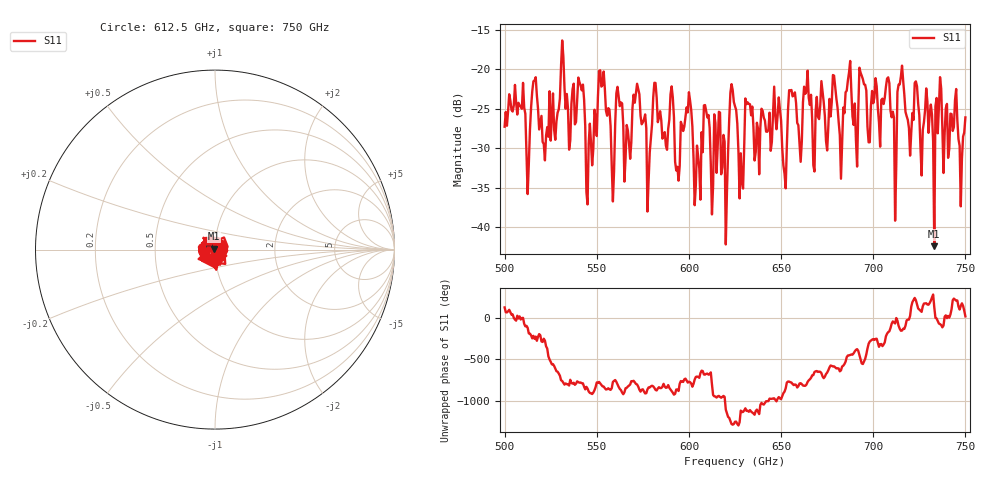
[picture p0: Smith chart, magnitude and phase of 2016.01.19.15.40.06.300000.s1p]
!Created with skrf (http://scikit-rf.org).
# GHz S RI R 50.0
!freq ReS11 ImS11
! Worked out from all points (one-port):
!   401 points, 500 GHz to 750 GHz, reference 50 ohm
!   lowest |S11| = -42.4 dB at 733.1 GHz (marker M1), VSWR 1.02, Z = 49.5 + j0.558 ohm
!   |S11| at or under -10 dB: start of sweep to end of sweep
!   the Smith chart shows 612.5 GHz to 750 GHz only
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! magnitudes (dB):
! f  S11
! 500 GHz  -27.3
! 513.1 GHz  -32.0
! 516.2 GHz  -21.4
! 522.5 GHz  -28.4
! 531.2 GHz  -16.4
! 541.2 GHz  -22.1
! 545.6 GHz  -29.4
! 552.5 GHz  -22.2
! 558.8 GHz  -36.7
! 562.5 GHz  -24.7
! 578.1 GHz  -34.1
! 581.2 GHz  -21.7
! 590.6 GHz  -22.2
! 593.8 GHz  -32.4
! 600 GHz  -22.9
! 603.8 GHz  -34.7
! 609.4 GHz  -25.3
! 619.4 GHz  -29.2
! 625 GHz  -24.7
! 628.1 GHz  -30.7
! 631.9 GHz  -24.2
! 651.9 GHz  -33.2
! 656.2 GHz  -23.5
! 682.5 GHz  -33.9
! 687.5 GHz  -19.0
! 718.8 GHz  -26.4
! 733.1 GHz  -42.4
! 750 GHz  -26.1
